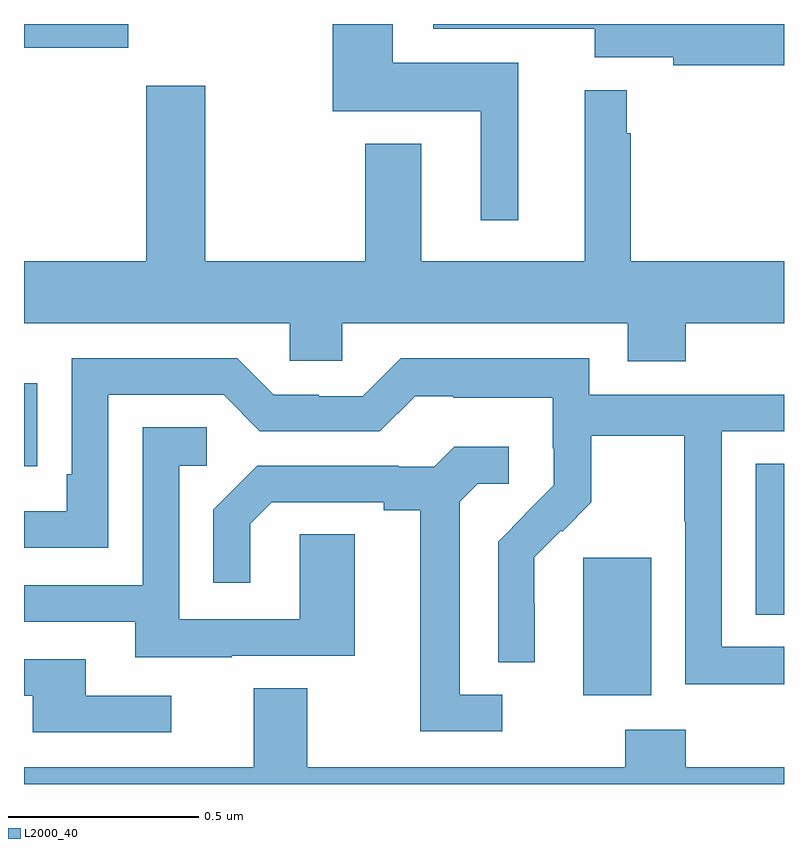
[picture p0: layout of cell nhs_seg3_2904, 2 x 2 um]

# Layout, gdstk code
import gdstk
lib = gdstk.Library(unit=1e-6, precision=1e-09)
def R(c, l, rs):  # rectangles x0, y0, x1, y1
    for r in rs: c.add(gdstk.rectangle(r[:2], r[2:], *l))
def P(c, l, *ps):  # polygons
    for p in ps: c.add(gdstk.Polygon(p, *l))
L2000_40 = (2000, 40)

nhs_seg3_2904 = lib.new_cell('nhs_seg3_2904')
R(nhs_seg3_2904, L2000_40, [(148.472,670.634,148.651,670.995), (148.925,670.846,149,671.243), (147,671.236,147.035,671.455), (147,672.338,147.274,672.4)])
P(nhs_seg3_2904, L2000_40, [(148.3,672.298),(147.97,672.298),(147.97,672.4),(147.812,672.4),(147.812,672.17),(148.202,672.17),(148.202,671.883),(148.3,671.883)],
  [(149,672.4),(148.077,672.4),(148.077,672.387),(148.502,672.387),(148.502,672.312),(148.708,672.312),(148.708,672.292),(149,672.292)],
  [(148.742,671.612),(149,671.612),(149,671.776),(148.597,671.776),(148.597,672.113),(148.586,672.113),(148.586,672.226),(148.475,672.226),(148.475,671.776),(148.045,671.776),(148.045,672.085),(147.898,672.085),(147.898,671.776),(147.477,671.776),(147.477,672.238),(147.322,672.238),(147.322,671.776),(147,671.776),(147,671.612),(147.699,671.612),(147.699,671.514),(147.837,671.514),(147.837,671.612),(148.589,671.612),(148.589,671.513),(148.742,671.513)],
  [(149,670.761),(148.836,670.761),(148.836,671.328),(149,671.328),(149,671.424),(148.488,671.424),(148.488,671.521),(147.991,671.521),(147.891,671.421),(147.776,671.421),(147.776,671.424),(147.657,671.424),(147.561,671.52),(147.126,671.52),(147.126,671.215),(147.113,671.215),(147.113,671.118),(147,671.118),(147,671.022),(147.222,671.022),(147.222,671.424),(147.525,671.424),(147.621,671.328),(147.936,671.328),(148.029,671.421),(148.129,671.421),(148.129,671.417),(148.392,671.417),(148.392,671.283),(148.394,671.283),(148.394,671.186),(148.32,671.112),(148.321,671.111),(148.248,671.038),(148.248,670.72),(148.344,670.72),(148.344,670.874),(148.343,670.874),(148.343,670.997),(148.413,671.067),(148.416,671.064),(148.493,671.141),(148.493,671.316),(148.738,671.316),(148.738,671.092),(148.74,671.092),(148.74,670.663),(149,670.663)],
  [(147.547,670.737),(147.871,670.737),(147.871,671.057),(147.726,671.057),(147.726,670.833),(147.408,670.833),(147.408,671.238),(147.481,671.238),(147.481,671.339),(147.312,671.339),(147.312,670.923),(147,670.923),(147,670.827),(147.293,670.827),(147.293,670.733),(147.547,670.733)],
  [(148.258,670.635),(148.147,670.635),(148.147,671.143),(148.194,671.19),(148.276,671.19),(148.276,671.287),(148.132,671.287),(148.08,671.235),(147.986,671.235),(147.986,671.238),(147.614,671.238),(147.498,671.122),(147.498,670.929),(147.595,670.929),(147.595,671.085),(147.652,671.142),(147.947,671.142),(147.947,671.12),(148.043,671.12),(148.043,670.539),(148.258,670.539)],
  [(147.388,670.632),(147.163,670.632),(147.163,670.728),(147,670.728),(147,670.632),(147.023,670.632),(147.023,670.536),(147.388,670.536)],
  [(149,670.444),(148.742,670.444),(148.742,670.543),(148.582,670.543),(148.582,670.444),(147.745,670.444),(147.745,670.652),(147.605,670.652),(147.605,670.444),(147,670.444),(147,670.4),(149,670.4)])

lib.write_gds('nhs_seg3_2904.gds')
